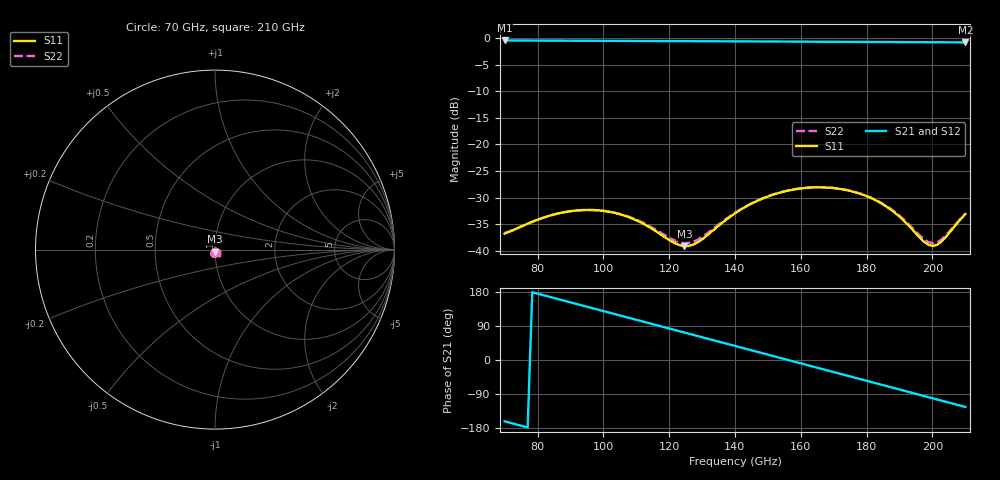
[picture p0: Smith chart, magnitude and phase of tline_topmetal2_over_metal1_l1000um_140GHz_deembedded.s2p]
! Created with skrf 2.2.0 (http://scikit-rf.org).
# GHz S DB R 50.0
! Port[1] = P1
! Port[2] = P2
!freq dBS11 angS11 dBS21 angS21 dBS12 angS12 dBS22 angS22
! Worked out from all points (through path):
!   101 points, 70 GHz to 210 GHz, reference 50 ohm
!   highest |S21| = -0.47 dB at 70 GHz (marker M1); lowest = -0.8 dB at 210 GHz (marker M2)
!   group delay of S21, straight-line fit = 6.39 ps
!   lowest |S11| = -39.1 dB at 124.6 GHz (marker M3), VSWR 1.02, Z = 49.8 - j1.08 ohm
!   |S11| at or under -10 dB: start of sweep to end of sweep
!   |S22| runs from -38.6 to -28.0 dB; largest |S21 - S12| = 1.1e-14
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70  -36.79 -88.6  -0.47 -161.8  -0.47 -161.8  -36.68 -90.9
75.6  -35.30 -85.2  -0.48 -174.7  -0.48 -174.7  -35.29 -86.9
81.2  -33.90 -87.6  -0.49 172.4  -0.49 172.4  -33.92 -88.8
86.8  -32.91 -93.3  -0.50 159.5  -0.50 159.5  -32.93 -94.1
93.8  -32.35 -102.8  -0.52 143.4  -0.52 143.4  -32.37 -103.0
100.8  -32.58 -112.7  -0.54 127.3  -0.54 127.3  -32.55 -112.4
106.4  -33.40 -119.5  -0.55 114.4  -0.55 114.4  -33.33 -118.9
117.6  -37.00 -121.0  -0.58 88.6  -0.58 88.6  -36.69 -119.8
124.6  -39.14 -99.4  -0.60 72.5  -0.60 72.5  -38.58 -99.7
128.8  -38.36 -81.2  -0.61 62.9  -0.61 62.9  -37.89 -83.1
140  -32.97 -67.6  -0.63 37.1  -0.63 37.1  -32.86 -69.4
147  -30.55 -74.1  -0.65 21.0  -0.65 21.0  -30.50 -75.3
152.6  -29.25 -81.9  -0.67 8.1  -0.67 8.1  -29.22 -82.7
158.2  -28.45 -90.9  -0.68 -4.8  -0.68 -4.8  -28.42 -91.4
163.8  -28.10 -100.3  -0.70 -17.7  -0.70 -17.7  -28.07 -100.6
169.4  -28.19 -109.8  -0.71 -30.5  -0.71 -30.5  -28.15 -109.8
176.4  -28.99 -121.2  -0.73 -46.6  -0.73 -46.6  -28.94 -120.8
187.6  -32.39 -133.8  -0.76 -72.4  -0.76 -72.4  -32.26 -132.9
197.4  -38.29 -115.6  -0.79 -94.9  -0.79 -94.9  -37.83 -115.1
200.2  -39.10 -95.9  -0.80 -101.4  -0.80 -101.4  -38.59 -96.8
203  -38.12 -76.0  -0.81 -107.8  -0.81 -107.8  -37.76 -78.0
210  -33.09 -57.3  -0.83 -123.9  -0.83 -123.9  -33.03 -58.7
